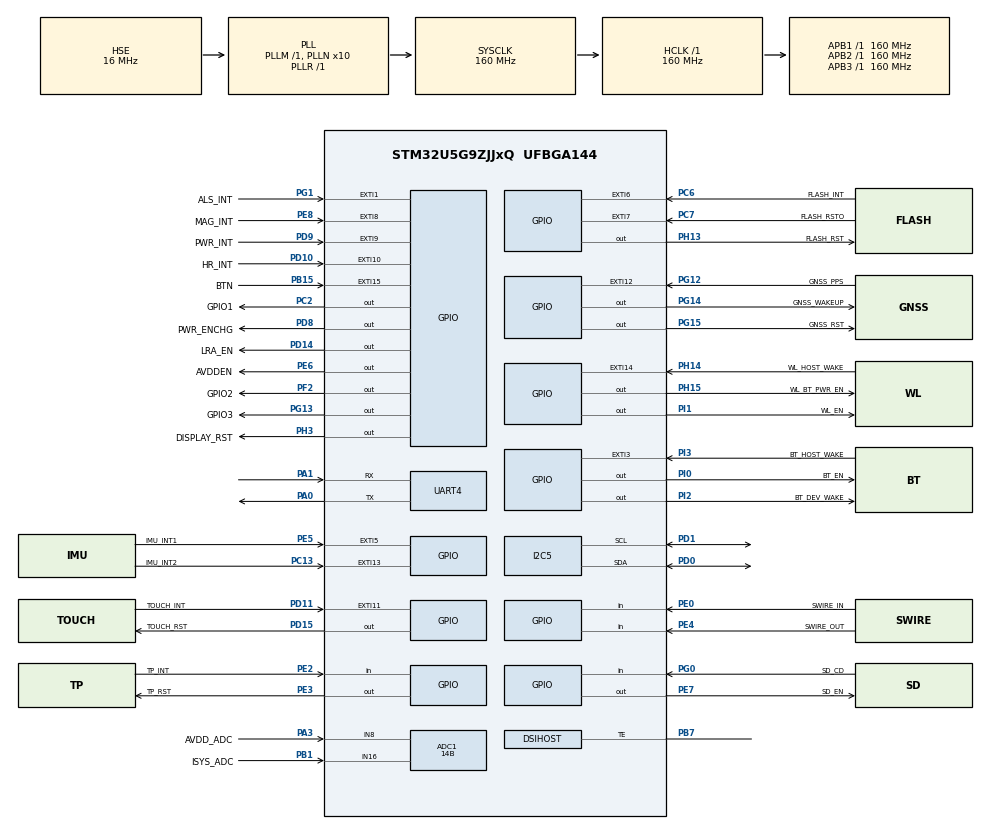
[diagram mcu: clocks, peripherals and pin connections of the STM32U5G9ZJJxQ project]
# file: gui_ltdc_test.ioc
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ADC1.Channel-0\#ChannelRegularConversion=ADC_CHANNEL_8
ADC1.ClockPrescaler=ADC_CLOCK_ASYNC_DIV128
ADC1.ContinuousConvMode=ENABLE
ADC1.ConversionDataManagement=ADC_CONVERSIONDATA_DMA_CIRCULAR
ADC1.DMAContinuousRequests=ENABLE
ADC1.MonitoredBy-0\#ChannelRegularConversion=__NULL
ADC1.NbrOfConversion=1
ADC1.NbrOfConversionFlag=1
ADC1.OffsetNumber-0\#ChannelRegularConversion=ADC_OFFSET_NONE
ADC1.Rank-0\#ChannelRegularConversion=1
ADC1.Resolution=ADC_RESOLUTION_14B
ADC1.SamplingTime-0\#ChannelRegularConversion=ADC_SAMPLETIME_68CYCLES
ADC1.master=1
CORTEX_M33_NS.userName=CORTEX_M33
DMA2D.ColorMode=DMA2D_OUTPUT_RGB888
DMA2D.Mode=DMA2D_M2M
DSIHOST.AutomaticClockLaneControl=DSI_AUTO_CLK_LANE_CTRL_DISABLE
DSIHOST.AutomaticRefresh=DSI_AR_DISABLE
DSIHOST.BTATimeout=20
DSIHOST.CommandSize=416
DSIHOST.HighSpeedReadTimeout=20
DSIHOST.HighSpeedTransmissionTimeout=20
DSIHOST.HighSpeedWriteTimeout=20
DSIHOST.LPDcsLongWrite=DSI_LP_DLW_ENABLE
DSIHOST.LPDcsShortReadNoP=DSI_LP_DSR0P_ENABLE
DSIHOST.LPDcsShortWriteNoP=DSI_LP_DSW0P_ENABLE
DSIHOST.LPDcsShortWriteOneP=DSI_LP_DSW1P_ENABLE
DSIHOST.LPGenLongWrite=DSI_LP_GLW_ENABLE
DSIHOST.LPGenShortReadNoP=DSI_LP_GSR0P_ENABLE
DSIHOST.LPGenShortReadOneP=DSI_LP_GSR1P_ENABLE
DSIHOST.LPGenShortReadTwoP=DSI_LP_GSR2P_ENABLE
DSIHOST.LPGenShortWriteNoP=DSI_LP_GSW0P_ENABLE
DSIHOST.LPGenShortWriteOneP=DSI_LP_GSW1P_ENABLE
DSIHOST.LPGenShortWriteTwoP=DSI_LP_GSW2P_ENABLE
DSIHOST.LPMaxReadPacket=DSI_LP_MRDP_ENABLE
DSIHOST.LowPowerReadTimeout=20
DSIHOST.LowPowerReceptionTimeout=20
DSIHOST.LowPowerWriteTimeout=20
DSIHOST.NumberOfLanes=DSI_ONE_DATA_LANE
DSIHOST.PHYFrequencyRange=DSI_DPHY_FRANGE_450MHZ_510MHZ
DSIHOST.PHYLowPowerOffset=PHY_LP_OFFSSET_0_CLKP
DSIHOST.PLLChargePump=DSI_PLL_CHARGE_PUMP_2000HZ_4400HZ
DSIHOST.PLLTuning=DSI_PLL_LOOP_FILTER_2000HZ_4400HZ
DSIHOST.PLLVCORange=DSI_DPHY_VCO_FRANGE_800MHZ_1GHZ
DSIHOST.StopWaitTime=10
DSIHOST.TimeoutCkdiv=1
DSI_CKN.Mode=DSIHost_Adapted_TE
DSI_CKN.PinAttribute=Free
DSI_CKN.Signal=DSIHOST_CKN
DSI_CKP.Mode=DSIHost_Adapted_TE
DSI_CKP.PinAttribute=Free
DSI_CKP.Signal=DSIHOST_CKP
DSI_D0N.Mode=DSIHost_Adapted_TE
DSI_D0N.PinAttribute=Free
DSI_D0N.Signal=DSIHOST_D0N
DSI_D0P.Mode=DSIHost_Adapted_TE
DSI_D0P.PinAttribute=Free
DSI_D0P.Signal=DSIHOST_D0P
DSI_D1N.Mode=DSIHost_Adapted_TE
DSI_D1N.PinAttribute=Free
DSI_D1N.Signal=DSIHOST_D1N
DSI_D1P.Mode=DSIHost_Adapted_TE
DSI_D1P.PinAttribute=Free
DSI_D1P.Signal=DSIHOST_D1P
I2C5.Timing=0x30909DEC
LTDC.ActiveH=416
LTDC.ActiveW=416
LTDC.Alpha0_L0=255
LTDC.Alpha_L0=255
LTDC.Blue=0
LTDC.Blue_L0=0
LTDC.FBStartAdress_L0=0xC0000000
LTDC.Green=0
LTDC.Green_L0=0
LTDC.HBP=0
LTDC.HFP=0
LTDC.HSync=1
LTDC.ImageHeight_L0=416
LTDC.ImageWidth_L0=416
LTDC.Layers=0
LTDC.PixelFormat_L0=LTDC_PIXEL_FORMAT_RGB888
LTDC.Red=255
LTDC.Red_L0=0
LTDC.VBP=0
LTDC.VFP=0
LTDC.VSync=1
LTDC.WindowX1_L0=416
LTDC.WindowY1_L0=416
Mcu.Family=STM32U5
Mcu.Name=STM32U5G9ZJJxQ
Mcu.Package=UFBGA144
NVIC.ADC1_2_IRQn=true\:0\:0\:false\:false\:true\:false\:true\:true\:true
NVIC.DMA2D_IRQn=true\:0\:0\:false\:false\:true\:false\:true\:true\:true
NVIC.DSI_IRQn=true\:0\:0\:false\:false\:true\:false\:true\:true\:true
NVIC.GPU2D_IRQn=true\:0\:0\:false\:false\:true\:false\:true\:true\:true
NVIC.LTDC_IRQn=true\:0\:0\:false\:false\:true\:false\:true\:true\:true
NVIC.PriorityGroup=NVIC_PRIORITYGROUP_4
NVIC.RCC_IRQn=true\:0\:0\:false\:false\:true\:false\:true\:false\:true
NVIC.TIM6_IRQn=true\:15\:0\:false\:false\:true\:false\:false\:true\:true
NVIC.TimeBase=TIM6_IRQn
NVIC.TimeBaseIP=TIM6
PA0.Mode=Asynchronous
PA0.PinAttribute=Free
PA0.Signal=UART4_TX
PA1.Mode=Asynchronous
PA1.PinAttribute=Free
PA1.Signal=UART4_RX
PA11.Signal=USB_OTG_HS_DM
PA12.Signal=USB_OTG_HS_DP
PA13\ (JTMS/SWDIO).Mode=Serial_Wire
PA13\ (JTMS/SWDIO).Signal=DEBUG_JTMS-SWDIO
PA14\ (JTCK/SWCLK).Mode=Serial_Wire
PA14\ (JTCK/SWCLK).Signal=DEBUG_JTCK-SWCLK
PA15\ (JTDI).Signal=USART2_RX
PA2.Signal=RCC_LSCO
PA3.GPIO_Label=AVDD_ADC
PA3.Mode=IN8-Single-Ended
PA3.Signal=ADC1_IN8
PA4.GPIO_Label=ELVDD_ADC
PA4.Signal=ADC1_IN9
PA5.PinAttribute=Free
PA5.Signal=SPI1_SCK
PA6.Signal=SPI1_MISO
PA7.Signal=SPI1_MOSI
PA8.Signal=SDMMC2_D1
PB0.PinAttribute=Free
PB0.Signal=SPI1_NSS
PB1.GPIO_Label=ISYS_ADC
PB1.Mode=IN16-Single-Ended
PB1.Signal=ADC1_IN16
PB10.Signal=OCTOSPIM_P1_CLK
PB11.PinAttribute=Free
PB11.Signal=I2C2_SDA
PB13.Signal=I2C2_SCL
PB14.PinAttribute=Free
PB14.Signal=SDMMC2_D0
PB15.GPIO_Label=BTN
PB15.Signal=GPXTI15
PB2.PinAttribute=Free
PB2.Signal=OCTOSPIM_P1_DQS
PB3\ (JTDO/TRACESWO).Signal=SDMMC2_D2
PB4\ (NJTRST).PinAttribute=Free
PB4\ (NJTRST).Signal=SDMMC2_D3
PB5.Signal=OCTOSPIM_P1_NCLK
PB6.PinAttribute=Free
PB6.Signal=I2C1_SCL
PB7.Mode=DSIHost_Adapted_TE
PB7.Signal=DSIHOST_TE
PB8.Signal=SDMMC1_CKIN
PB9.Signal=I2C1_SDA
PC0.PinAttribute=Free
PC0.Signal=I2C3_SCL
PC1.PinAttribute=Free
PC1.Signal=I2C3_SDA
PC10.Signal=SDMMC1_D2
PC11.Signal=SDMMC1_D3
PC12.PinAttribute=Free
PC12.Signal=SDMMC1_CK
PC13.GPIO_Label=IMU_INT2
PC13.PinAttribute=Free
PC13.Signal=GPXTI13
PC14-OSC32_IN\ (PC14).Mode=LSE-External-Oscillator
PC14-OSC32_IN\ (PC14).Signal=RCC_OSC32_IN
PC15-OSC32_OUT\ (PC15).Mode=LSE-External-Oscillator
PC15-OSC32_OUT\ (PC15).Signal=RCC_OSC32_OUT
PC2.GPIO_Label=GPIO1
PC2.PinAttribute=Free
PC2.Signal=GPIO_Output
PC3.GPIO_Label=ELVSS_ADC
PC3.Signal=ADC1_IN4
PC6.GPIO_Label=FLASH_INT
PC6.PinAttribute=Free
PC6.Signal=GPXTI6
PC7.GPIO_Label=FLASH_RSTO
PC7.PinAttribute=Free
PC7.Signal=GPXTI7
PC8.Signal=SDMMC1_D0
PC9.PinAttribute=Free
PC9.Signal=SDMMC1_D1
PD0.Mode=I2C
PD0.Signal=I2C5_SDA
PD1.Mode=I2C
PD1.PinAttribute=Free
PD1.Signal=I2C5_SCL
PD10.GPIO_Label=HR_INT
PD10.PinAttribute=Free
PD10.Signal=GPXTI10
PD11.GPIO_Label=TOUCH_INT
PD11.PinAttribute=Free
PD11.Signal=GPXTI11
PD12.Signal=I2C4_SCL
PD13.Signal=I2C4_SDA
PD14.GPIO_Label=LRA_EN
PD14.Signal=GPIO_Output
PD15.GPIO_Label=TOUCH_RST
PD15.GPIO_ModeDefaultOutputPP=GPIO_MODE_OUTPUT_OD
PD15.GPIO_PuPd=GPIO_NOPULL
PD15.PinAttribute=Free
PD15.Signal=GPIO_Output
PD2.Signal=SDMMC1_CMD
PD3.PinAttribute=Free
PD3.Signal=USART2_CTS
PD4.Signal=USART2_RTS
PD5.Signal=USART2_TX
PD6.Signal=SDMMC2_CK
PD7.PinAttribute=Free
PD7.Signal=SDMMC2_CMD
PD8.GPIO_Label=PWR_ENCHG
PD8.Signal=GPIO_Output
PD9.GPIO_Label=PWR_INT
PD9.Signal=GPXTI9
PE0.GPIO_Label=SWIRE_IN
PE0.PinAttribute=Free
PE0.Signal=GPIO_Input
PE10.PinAttribute=Free
PE10.Signal=ADF1_SDI0
PE11.Signal=OCTOSPIM_P1_NCS
PE12.PinAttribute=Free
PE12.Signal=OCTOSPIM_P1_IO0
PE13.Signal=OCTOSPIM_P1_IO1
PE14.PinAttribute=Free
PE14.Signal=OCTOSPIM_P1_IO2
PE15.Signal=OCTOSPIM_P1_IO3
PE2.GPIO_Label=TP_INT
PE2.Signal=GPIO_Input
PE3.GPIO_Label=TP_RST
PE3.PinAttribute=Free
PE3.Signal=GPIO_Output
PE4.GPIO_Label=SWIRE_OUT
PE4.GPIO_PuPd=GPIO_PULLDOWN
PE4.Signal=GPIO_Input
PE5.GPIO_Label=IMU_INT1
PE5.Signal=GPXTI5
PE6.GPIO_Label=AVDDEN
PE6.Signal=GPIO_Output
PE7.GPIO_Label=SD_EN
PE7.Signal=GPIO_Output
PE8.GPIO_Label=MAG_INT
PE8.PinAttribute=Free
PE8.Signal=GPXTI8
PE9.PinAttribute=Free
PE9.Signal=ADF1_CCK0
PF0.PinAttribute=Free
PF0.Signal=I2C6_SDA
PF1.PinAttribute=Free
PF1.Signal=I2C6_SCL
PF2.GPIO_Label=GPIO2
PF2.PinAttribute=Free
PF2.Signal=GPIO_Output
PG0.GPIO_Label=SD_CD
PG0.PinAttribute=Free
PG0.Signal=GPIO_Input
PG1.GPIO_Label=ALS_INT
PG1.PinAttribute=Free
PG1.Signal=GPXTI1
PG10.PinAttribute=Free
PG10.Signal=USART1_RX
PG12.GPIO_Label=GNSS_PPS
PG12.PinAttribute=Free
PG12.Signal=GPXTI12
PG13.GPIO_Label=GPIO3
PG13.Signal=GPIO_Output
PG14.GPIO_Label=GNSS_WAKEUP
PG14.PinAttribute=Free
PG14.Signal=GPIO_Output
PG15.GPIO_Label=GNSS_RST
PG15.Signal=GPIO_Output
PG9.Signal=USART1_TX
PH0-OSC_IN\ (PH0).Mode=HSE-External-Oscillator
PH0-OSC_IN\ (PH0).PinAttribute=Free
PH0-OSC_IN\ (PH0).Signal=RCC_OSC_IN
PH1-OSC_OUT\ (PH1).Mode=HSE-External-Oscillator
PH1-OSC_OUT\ (PH1).PinAttribute=Free
PH1-OSC_OUT\ (PH1).Signal=RCC_OSC_OUT
PH10.PinAttribute=Free
PH10.Signal=OCTOSPIM_P2_IO5
PH11.PinAttribute=Free
PH11.Signal=OCTOSPIM_P2_IO6
PH12.PinAttribute=Free
PH12.Signal=OCTOSPIM_P2_IO7
PH13.GPIO_Label=FLASH_RST
PH13.PinAttribute=Free
PH13.Signal=GPIO_Output
PH14.GPIO_Label=WL_HOST_WAKE
PH14.PinAttribute=Free
PH14.Signal=GPXTI14
PH15.GPIO_Label=WL_BT_PWR_EN
PH15.PinAttribute=Free
PH15.Signal=GPIO_Output
PH3-BOOT0.GPIO_Label=DISPLAY_RST
PH3-BOOT0.PinAttribute=Free
PH3-BOOT0.Signal=GPIO_Output
PH9.Signal=OCTOSPIM_P2_IO4
PI0.GPIO_Label=BT_EN
PI0.PinAttribute=Free
PI0.Signal=GPIO_Output
PI1.GPIO_Label=WL_EN
PI1.PinAttribute=Free
PI1.Signal=GPIO_Output
PI2.GPIO_Label=BT_DEV_WAKE
PI2.PinAttribute=Free
PI2.Signal=GPIO_Output
PI3.GPIO_Label=BT_HOST_WAKE
PI3.PinAttribute=Free
PI3.Signal=GPXTI3
PWR.PowerMode=PWR_SMPS_SUPPLY
ProjectManager.HeapSize=0x200
ProjectManager.StackSize=0x400
ProjectManager.TargetToolchain=STM32CubeIDE
RCC.ADCFreq_Value=16000000
RCC.AHBFreq_Value=160000000
RCC.APB1Freq_Value=160000000
RCC.APB1TimFreq_Value=160000000
RCC.APB2Freq_Value=160000000
RCC.APB2TimFreq_Value=160000000
RCC.APB3Freq_Value=160000000
RCC.CortexFreq_Value=160000000
RCC.DSICLockSelection=RCC_DSICLKSOURCE_PLL3
RCC.EPOD_VALUE=16000000
RCC.EnableCSSLSE=true
RCC.EnbaleCSS=true
RCC.HCLKFreq_Value=160000000
RCC.HSE_VALUE=16000000
RCC.HSI48_VALUE=48000000
RCC.HSI_VALUE=16000000
RCC.LSCOSource1Virtual=RCC_LSCOSOURCE_LSE
RCC.LSE_Drive_Capability=RCC_LSEDRIVE_MEDIUMLOW
RCC.LSIDIV_VALUE=32000
RCC.MSIAutoCalibration=DISABLED
RCC.MSIClockRange=RCC_MSIRANGE_0
RCC.MSI_VALUE=48000000
RCC.PLL1P=5
RCC.PLL1R=1
RCC.PLL1_VCI_Range-AdvancedSettings=RCC_PLLVCIRANGE_1
RCC.PLL2FRACN=0
RCC.PLL2N=10
RCC.PLL2R=8
RCC.PLL2Source=RCC_PLLSOURCE_HSE
RCC.PLL3M=4
RCC.PLL3N=125
RCC.PLL3P=8
RCC.PLL3R=8
RCC.PLL3Source=RCC_PLLSOURCE_HSE
RCC.PLLDSIIDF=DSI_PLL_IN_DIV4
RCC.PLLDSINDIV=125
RCC.PLLDSIODF=DSI_PLL_OUT_DIV2
RCC.PLLFRACN=0
RCC.PLLN=10
RCC.PLLSourceVirtual=RCC_PLLSOURCE_HSE
RCC.RTCClockSelection=RCC_RTCCLKSOURCE_LSE
RCC.SYSCLKFreq_VALUE=160000000
RCC.SYSCLKSource=RCC_SYSCLKSOURCE_PLLCLK
RCC.VCOOutputFreq_Value=160000000
RCC.VDD_VALUE=1.8
STMicroelectronics.X-CUBE-TOUCHGFX.4.23.2.ApplicationCcGraphicsJjApplication=TouchGFXOoGenerator
STMicroelectronics.X-CUBE-TOUCHGFX.4.23.2.tgfx_display_interface=disp_ltdc
STMicroelectronics.X-CUBE-TOUCHGFX.4.23.2.tgfx_hardware_accelerator=dma_2d
STMicroelectronics.X-CUBE-TOUCHGFX.4.23.2.tgfx_nemap_accelerator=gpu2d_enabled
STMicroelectronics.X-CUBE-TOUCHGFX.4.23.2.tgfx_vector_rendering=Disabled
STMicroelectronics.X-CUBE-TOUCHGFX.4.23.2.tgfx_video=Disabled
STMicroelectronics.X-CUBE-TOUCHGFX.4.23.2.tgfx_vsync=vsync_custom
STMicroelectronics.X-CUBE-TOUCHGFX.4.23.2_IsPackSelfContextualization=true
THREADX.TX_APP_CREATION=1
THREADX.TX_APP_GENERATE_INIT_CODE=true
THREADX.TX_APP_MEM_POOL_SIZE=1024 * 10
THREADX.TX_TIMER_TICKS_PER_SECOND=1000
VP_CRC_VS_CRC.Mode=CRC_Activate
VP_DMA2D_VS_DMA2D.Mode=DMA2D_Activate
VP_GPU2D_VS_GPU2D.Mode=GPU2D_Activate
VP_ICACHE_VS_ICACHE.Mode=DefaultMode
VP_LPBAMQUEUE_VS_QUEUE.Mode=QUEUEMODE
VP_LPBAM_VS_SIG1.Mode=SmartRun
VP_LPBAM_VS_SIG4.Mode=LPDMA1
VP_LTDC_DSIMode.Mode=RGB888
VP_MEMORYMAP_VS_MEMORYMAP.Mode=CurAppReg
VP_PWR_VS_LPOM.Mode=PowerOptimisation
VP_PWR_VS_SECSignals.Mode=Security/Privilege
VP_PWR_Vdda.Mode=isolationVdda
VP_RTC_VS_RTC_Activate.Mode=RTC_Enabled
VP_STMicroelectronics.X-CUBE-TOUCHGFX_VS_GraphicsJjApplication_4.23.2.Mode=GraphicsJjApplication
VP_SYS_VS_tim6.Mode=TIM6
VP_THREADX_VS_RTOSJjThreadXJjCoreJjDefault.Mode=Core_Default
VREF+.Mode=InternalMode
VREF+.PinAttribute=Free
VREF+.Signal=VREFBUF_OUT
board=custom

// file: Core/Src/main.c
/* USER CODE BEGIN Header */
/**
 ******************************************************************************
 * @file           : main.c
 * @brief          : Main program body
 ******************************************************************************
 * @attention
 *
 * Copyright (c) 2024 STMicroelectronics.
 * All rights reserved.
 *
 * This software is licensed under terms that can be found in the LICENSE file
 * in the root directory of this software component.
 * If no LICENSE file comes with this software, it is provided AS-IS.
 *
 ******************************************************************************
 */
/* USER CODE END Header */
#include "app_threadx.h"
#include "main.h"
#include "app_touchgfx.h"

ADC_HandleTypeDef hadc1;

CRC_HandleTypeDef hcrc;

DMA2D_HandleTypeDef hdma2d;

DSI_HandleTypeDef hdsi;

GPU2D_HandleTypeDef hgpu2d;

I2C_HandleTypeDef hi2c5;

LTDC_HandleTypeDef hltdc;

RTC_HandleTypeDef hrtc;

UART_HandleTypeDef huart4;

void SystemClock_Config(void);
static void SystemPower_Config(void);
static void MX_GPIO_Init(void);
static void MX_DSIHOST_DSI_Init(void);
static void MX_ICACHE_Init(void);
static void MX_LTDC_Init(void);
static void MX_I2C5_Init(void);
static void MX_RTC_Init(void);
static void MX_ADC1_Init(void);
static void MX_UART4_Init(void);
static void MX_CRC_Init(void);
static void MX_DMA2D_Init(void);
static void MX_GPU2D_Init(void);

int main(void)
{

  /* MCU Configuration--------------------------------------------------------*/

  /* Reset of all peripherals, Initializes the Flash interface and the Systick. */
  HAL_Init();

  /* Configure the system clock */
  SystemClock_Config();

  /* Configure the System Power */
  SystemPower_Config();

  /* Initialize all configured peripherals */
  MX_GPIO_Init();
  MX_DSIHOST_DSI_Init();
  MX_ICACHE_Init();
  MX_LTDC_Init();
  MX_I2C5_Init();
  MX_RTC_Init();
  MX_ADC1_Init();
  MX_UART4_Init();
  MX_CRC_Init();
  MX_DMA2D_Init();
  MX_GPU2D_Init();
  /* Call PreOsInit function */
  MX_TouchGFX_PreOSInit();

  MX_ThreadX_Init();

  /* We should never get here as control is now taken by the scheduler */

  /* Infinite loop */
	while (1)
	{

	}
}

void SystemClock_Config(void)
{
  RCC_OscInitTypeDef RCC_OscInitStruct = {0};
  RCC_ClkInitTypeDef RCC_ClkInitStruct = {0};

  /** Configure the main internal regulator output voltage
  */
  if (HAL_PWREx_ControlVoltageScaling(PWR_REGULATOR_VOLTAGE_SCALE1) != HAL_OK)
  {
    Error_Handler();
  }

  /** Configure LSE Drive Capability
  */
  HAL_PWR_EnableBkUpAccess();
  __HAL_RCC_LSEDRIVE_CONFIG(RCC_LSEDRIVE_MEDIUMLOW);

  /** Initializes the CPU, AHB and APB buses clocks
  */
  RCC_OscInitStruct.OscillatorType = RCC_OSCILLATORTYPE_HSI|RCC_OSCILLATORTYPE_HSE
                              |RCC_OSCILLATORTYPE_LSE;
  RCC_OscInitStruct.HSEState = RCC_HSE_ON;
  RCC_OscInitStruct.LSEState = RCC_LSE_ON;
  RCC_OscInitStruct.HSIState = RCC_HSI_ON;
  RCC_OscInitStruct.HSICalibrationValue = RCC_HSICALIBRATION_DEFAULT;
  RCC_OscInitStruct.PLL.PLLState = RCC_PLL_ON;
  RCC_OscInitStruct.PLL.PLLSource = RCC_PLLSOURCE_HSE;
  RCC_OscInitStruct.PLL.PLLMBOOST = RCC_PLLMBOOST_DIV1;
  RCC_OscInitStruct.PLL.PLLM = 1;
  RCC_OscInitStruct.PLL.PLLN = 10;
  RCC_OscInitStruct.PLL.PLLP = 5;
  RCC_OscInitStruct.PLL.PLLQ = 2;
  RCC_OscInitStruct.PLL.PLLR = 1;
  RCC_OscInitStruct.PLL.PLLRGE = RCC_PLLVCIRANGE_1;
  RCC_OscInitStruct.PLL.PLLFRACN = 0;
  if (HAL_RCC_OscConfig(&RCC_OscInitStruct) != HAL_OK)
  {
    Error_Handler();
  }

  /** Initializes the CPU, AHB and APB buses clocks
  */
  RCC_ClkInitStruct.ClockType = RCC_CLOCKTYPE_HCLK|RCC_CLOCKTYPE_SYSCLK
                              |RCC_CLOCKTYPE_PCLK1|RCC_CLOCKTYPE_PCLK2
                              |RCC_CLOCKTYPE_PCLK3;
  RCC_ClkInitStruct.SYSCLKSource = RCC_SYSCLKSOURCE_PLLCLK;
  RCC_ClkInitStruct.AHBCLKDivider = RCC_SYSCLK_DIV1;
  RCC_ClkInitStruct.APB1CLKDivider = RCC_HCLK_DIV1;
  RCC_ClkInitStruct.APB2CLKDivider = RCC_HCLK_DIV1;
  RCC_ClkInitStruct.APB3CLKDivider = RCC_HCLK_DIV1;

  if (HAL_RCC_ClockConfig(&RCC_ClkInitStruct, FLASH_LATENCY_4) != HAL_OK)
  {
    Error_Handler();
  }

  /** Enables the Clock Security System
  */
  HAL_RCC_EnableCSS();

  /** Enables the Clock Security System
  */
  HAL_RCCEx_EnableLSECSS();
}

/**
  * @brief Power Configuration
  * @retval None
  */
static void SystemPower_Config(void)
{
  HAL_PWREx_EnableVddIO2();

  /*
   * Switch to SMPS regulator instead of LDO
   */
  if (HAL_PWREx_ConfigSupply(PWR_SMPS_SUPPLY) != HAL_OK)
  {
    Error_Handler();
  }
}

static void MX_ADC1_Init(void)
{

  ADC_ChannelConfTypeDef sConfig = {0};

  /** Common config
  */
  hadc1.Instance = ADC1;
  hadc1.Init.ClockPrescaler = ADC_CLOCK_ASYNC_DIV128;
  hadc1.Init.Resolution = ADC_RESOLUTION_14B;
  hadc1.Init.GainCompensation = 0;
  hadc1.Init.DataAlign = ADC_DATAALIGN_RIGHT;
  hadc1.Init.ScanConvMode = ADC_SCAN_DISABLE;
  hadc1.Init.EOCSelection = ADC_EOC_SINGLE_CONV;
  hadc1.Init.LowPowerAutoWait = DISABLE;
  hadc1.Init.ContinuousConvMode = ENABLE;
  hadc1.Init.NbrOfConversion = 1;
  hadc1.Init.DiscontinuousConvMode = DISABLE;
  hadc1.Init.ExternalTrigConv = ADC_SOFTWARE_START;
  hadc1.Init.ExternalTrigConvEdge = ADC_EXTERNALTRIGCONVEDGE_NONE;
  hadc1.Init.DMAContinuousRequests = ENABLE;
  hadc1.Init.TriggerFrequencyMode = ADC_TRIGGER_FREQ_HIGH;
  hadc1.Init.Overrun = ADC_OVR_DATA_PRESERVED;
  hadc1.Init.LeftBitShift = ADC_LEFTBITSHIFT_NONE;
  hadc1.Init.ConversionDataManagement = ADC_CONVERSIONDATA_DMA_CIRCULAR;
  hadc1.Init.OversamplingMode = DISABLE;
  if (HAL_ADC_Init(&hadc1) != HAL_OK)
  {
    Error_Handler();
  }

  /** Configure Regular Channel
  */
  sConfig.Channel = ADC_CHANNEL_8;
  sConfig.Rank = ADC_REGULAR_RANK_1;
  sConfig.SamplingTime = ADC_SAMPLETIME_68CYCLES;
  sConfig.SingleDiff = ADC_SINGLE_ENDED;
  sConfig.OffsetNumber = ADC_OFFSET_NONE;
  sConfig.Offset = 0;
  if (HAL_ADC_ConfigChannel(&hadc1, &sConfig) != HAL_OK)
  {
    Error_Handler();
  }

}

static void MX_CRC_Init(void)
{

  hcrc.Instance = CRC;
  hcrc.Init.DefaultPolynomialUse = DEFAULT_POLYNOMIAL_ENABLE;
  hcrc.Init.DefaultInitValueUse = DEFAULT_INIT_VALUE_ENABLE;
  hcrc.Init.InputDataInversionMode = CRC_INPUTDATA_INVERSION_NONE;
  hcrc.Init.OutputDataInversionMode = CRC_OUTPUTDATA_INVERSION_DISABLE;
  hcrc.InputDataFormat = CRC_INPUTDATA_FORMAT_BYTES;
  if (HAL_CRC_Init(&hcrc) != HAL_OK)
  {
    Error_Handler();
  }

}

static void MX_DMA2D_Init(void)
{

  hdma2d.Instance = DMA2D;
  hdma2d.Init.Mode = DMA2D_M2M;
  hdma2d.Init.ColorMode = DMA2D_OUTPUT_RGB888;
  hdma2d.Init.OutputOffset = 0;
  hdma2d.Init.BytesSwap = DMA2D_BYTES_REGULAR;
  hdma2d.Init.LineOffsetMode = DMA2D_LOM_PIXELS;
  hdma2d.LayerCfg[1].InputOffset = 0;
  hdma2d.LayerCfg[1].InputColorMode = DMA2D_INPUT_RGB888;
  hdma2d.LayerCfg[1].AlphaMode = DMA2D_NO_MODIF_ALPHA;
  hdma2d.LayerCfg[1].InputAlpha = 0;
  hdma2d.LayerCfg[1].AlphaInverted = DMA2D_REGULAR_ALPHA;
  hdma2d.LayerCfg[1].RedBlueSwap = DMA2D_RB_REGULAR;
  if (HAL_DMA2D_Init(&hdma2d) != HAL_OK)
  {
    Error_Handler();
  }
  if (HAL_DMA2D_ConfigLayer(&hdma2d, 1) != HAL_OK)
  {
    Error_Handler();
  }

}

static void MX_DSIHOST_DSI_Init(void)
{

  DSI_PLLInitTypeDef PLLInit = {0};
  DSI_HOST_TimeoutTypeDef HostTimeouts = {0};
  DSI_PHY_TimerTypeDef PhyTimings = {0};
  DSI_LPCmdTypeDef LPCmd = {0};
  DSI_CmdCfgTypeDef CmdCfg = {0};

  hdsi.Instance = DSI;
  hdsi.Init.AutomaticClockLaneControl = DSI_AUTO_CLK_LANE_CTRL_DISABLE;
  hdsi.Init.TXEscapeCkdiv = 4;
  hdsi.Init.NumberOfLanes = DSI_ONE_DATA_LANE;
  hdsi.Init.PHYFrequencyRange = DSI_DPHY_FRANGE_450MHZ_510MHZ;
  hdsi.Init.PHYLowPowerOffset = PHY_LP_OFFSSET_0_CLKP;
  PLLInit.PLLNDIV = 125;
  PLLInit.PLLIDF = DSI_PLL_IN_DIV4;
  PLLInit.PLLODF = DSI_PLL_OUT_DIV2;
  PLLInit.PLLVCORange = DSI_DPHY_VCO_FRANGE_800MHZ_1GHZ;
  PLLInit.PLLChargePump = DSI_PLL_CHARGE_PUMP_2000HZ_4400HZ;
  PLLInit.PLLTuning = DSI_PLL_LOOP_FILTER_2000HZ_4400HZ;
  if (HAL_DSI_Init(&hdsi, &PLLInit) != HAL_OK)
  {
    Error_Handler();
  }
  HostTimeouts.TimeoutCkdiv = 1;
  HostTimeouts.HighSpeedTransmissionTimeout = 20;
  HostTimeouts.LowPowerReceptionTimeout = 20;
  HostTimeouts.HighSpeedReadTimeout = 20;
  HostTimeouts.LowPowerReadTimeout = 20;
  HostTimeouts.HighSpeedWriteTimeout = 20;
  HostTimeouts.HighSpeedWritePrespMode = DSI_HS_PM_DISABLE;
  HostTimeouts.LowPowerWriteTimeout = 20;
  HostTimeouts.BTATimeout = 20;
  if (HAL_DSI_ConfigHostTimeouts(&hdsi, &HostTimeouts) != HAL_OK)
  {
    Error_Handler();
  }
  PhyTimings.ClockLaneHS2LPTime = 10;
  PhyTimings.ClockLaneLP2HSTime = 0;
  PhyTimings.DataLaneHS2LPTime = 0;
  PhyTimings.DataLaneLP2HSTime = 0;
  PhyTimings.DataLaneMaxReadTime = 0;
  PhyTimings.StopWaitTime = 10;
  if (HAL_DSI_ConfigPhyTimer(&hdsi, &PhyTimings) != HAL_OK)
  {
    Error_Handler();
  }
  if (HAL_DSI_ConfigFlowControl(&hdsi, DSI_FLOW_CONTROL_BTA) != HAL_OK)
  {
    Error_Handler();
  }
  if (HAL_DSI_ConfigErrorMonitor(&hdsi, HAL_DSI_ERROR_NONE) != HAL_OK)
  {
    Error_Handler();
  }
  LPCmd.LPGenShortWriteNoP = DSI_LP_GSW0P_ENABLE;
  LPCmd.LPGenShortWriteOneP = DSI_LP_GSW1P_ENABLE;
  LPCmd.LPGenShortWriteTwoP = DSI_LP_GSW2P_ENABLE;
  LPCmd.LPGenShortReadNoP = DSI_LP_GSR0P_ENABLE;
  LPCmd.LPGenShortReadOneP = DSI_LP_GSR1P_ENABLE;
  LPCmd.LPGenShortReadTwoP = DSI_LP_GSR2P_ENABLE;
  LPCmd.LPGenLongWrite = DSI_LP_GLW_ENABLE;
  LPCmd.LPDcsShortWriteNoP = DSI_LP_DSW0P_ENABLE;
  LPCmd.LPDcsShortWriteOneP = DSI_LP_DSW1P_ENABLE;
  LPCmd.LPDcsShortReadNoP = DSI_LP_DSR0P_ENABLE;
  LPCmd.LPDcsLongWrite = DSI_LP_DLW_ENABLE;
  LPCmd.LPMaxReadPacket = DSI_LP_MRDP_ENABLE;
  LPCmd.AcknowledgeRequest = DSI_ACKNOWLEDGE_DISABLE;
  if (HAL_DSI_ConfigCommand(&hdsi, &LPCmd) != HAL_OK)
  {
    Error_Handler();
  }
  CmdCfg.ColorCoding = DSI_RGB888;
  CmdCfg.CommandSize = 416;
  CmdCfg.TearingEffectSource = DSI_TE_EXTERNAL;
  CmdCfg.TearingEffectPolarity = DSI_TE_RISING_EDGE;
  CmdCfg.HSPolarity = DSI_HSYNC_ACTIVE_LOW;
  CmdCfg.VSPolarity = DSI_VSYNC_ACTIVE_LOW;
  CmdCfg.DEPolarity = DSI_DATA_ENABLE_ACTIVE_HIGH;
  CmdCfg.VSyncPol = DSI_VSYNC_FALLING;
  CmdCfg.AutomaticRefresh = DSI_AR_DISABLE;
  CmdCfg.TEAcknowledgeRequest = DSI_TE_ACKNOWLEDGE_DISABLE;
  if (HAL_DSI_ConfigAdaptedCommandMode(&hdsi, &CmdCfg) != HAL_OK)
  {
    Error_Handler();
  }
  if (HAL_DSI_SetGenericVCID(&hdsi, 0) != HAL_OK)
  {
    Error_Handler();
  }

}

static void MX_GPU2D_Init(void)
{

  hgpu2d.Instance = GPU2D;
  if (HAL_GPU2D_Init(&hgpu2d) != HAL_OK)
  {
    Error_Handler();
  }

}

static void MX_I2C5_Init(void)
{

  hi2c5.Instance = I2C5;
  hi2c5.Init.Timing = 0x30909DEC;
  hi2c5.Init.OwnAddress1 = 0;
  hi2c5.Init.AddressingMode = I2C_ADDRESSINGMODE_7BIT;
  hi2c5.Init.DualAddressMode = I2C_DUALADDRESS_DISABLE;
  hi2c5.Init.OwnAddress2 = 0;
  hi2c5.Init.OwnAddress2Masks = I2C_OA2_NOMASK;
  hi2c5.Init.GeneralCallMode = I2C_GENERALCALL_DISABLE;
  hi2c5.Init.NoStretchMode = I2C_NOSTRETCH_DISABLE;
  if (HAL_I2C_Init(&hi2c5) != HAL_OK)
  {
    Error_Handler();
  }

  /** Configure Analogue filter
  */
  if (HAL_I2CEx_ConfigAnalogFilter(&hi2c5, I2C_ANALOGFILTER_ENABLE) != HAL_OK)
  {
    Error_Handler();
  }

  /** Configure Digital filter
  */
  if (HAL_I2CEx_ConfigDigitalFilter(&hi2c5, 0) != HAL_OK)
  {
    Error_Handler();
  }

}

static void MX_ICACHE_Init(void)
{

  /** Enable instruction cache (default 2-ways set associative cache)
  */
  if (HAL_ICACHE_Enable() != HAL_OK)
  {
    Error_Handler();
  }

}

static void MX_LTDC_Init(void)
{

  LTDC_LayerCfgTypeDef pLayerCfg = {0};

  hltdc.Instance = LTDC;
  hltdc.Init.HSPolarity = LTDC_HSPOLARITY_AL;
  hltdc.Init.VSPolarity = LTDC_VSPOLARITY_AL;
  hltdc.Init.DEPolarity = LTDC_DEPOLARITY_AL;
  hltdc.Init.PCPolarity = LTDC_PCPOLARITY_IPC;
  hltdc.Init.HorizontalSync = 0;
  hltdc.Init.VerticalSync = 0;
  hltdc.Init.AccumulatedHBP = 0;
  hltdc.Init.AccumulatedVBP = 0;
  hltdc.Init.AccumulatedActiveW = 416;
  hltdc.Init.AccumulatedActiveH = 416;
  hltdc.Init.TotalWidth = 416;
  hltdc.Init.TotalHeigh = 416;
  hltdc.Init.Backcolor.Blue = 0;
  hltdc.Init.Backcolor.Green = 0;
  hltdc.Init.Backcolor.Red = 255;
  if (HAL_LTDC_Init(&hltdc) != HAL_OK)
  {
    Error_Handler();
  }
  pLayerCfg.WindowX0 = 0;
  pLayerCfg.WindowX1 = 416;
  pLayerCfg.WindowY0 = 0;
  pLayerCfg.WindowY1 = 416;
  pLayerCfg.PixelFormat = LTDC_PIXEL_FORMAT_RGB888;
  pLayerCfg.Alpha = 255;
  pLayerCfg.Alpha0 = 255;
  pLayerCfg.BlendingFactor1 = LTDC_BLENDING_FACTOR1_CA;
  pLayerCfg.BlendingFactor2 = LTDC_BLENDING_FACTOR2_CA;
  pLayerCfg.FBStartAdress = 0xC0000000;
  pLayerCfg.ImageWidth = 416;
  pLayerCfg.ImageHeight = 416;
  pLayerCfg.Backcolor.Blue = 0;
  pLayerCfg.Backcolor.Green = 0;
  pLayerCfg.Backcolor.Red = 0;
  if (HAL_LTDC_ConfigLayer(&hltdc, &pLayerCfg, 0) != HAL_OK)
  {
    Error_Handler();
  }
  /* USER CODE BEGIN LTDC_Init 2 */

	__HAL_LTDC_DISABLE(&hltdc);

	hdsi.Instance->CLCR &= ~DSI_CLCR_DPCC;

	HAL_DSI_Start(&hdsi);

	NVIC_DisableIRQ(DSI_IRQn);

	HAL_GPIO_WritePin(AVDDEN_GPIO_Port, AVDDEN_Pin, RESET);
	HAL_GPIO_WritePin(SD_EN_GPIO_Port,SD_EN_Pin, RESET);
	HAL_GPIO_WritePin(WL_BT_PWR_EN_GPIO_Port, WL_BT_PWR_EN_Pin, RESET);
	HAL_GPIO_WritePin(DISPLAY_RST_GPIO_Port, DISPLAY_RST_Pin, RESET);
	HAL_GPIO_WritePin(TOUCH_RST_GPIO_Port, TOUCH_RST_Pin, RESET);
	HAL_GPIO_WritePin(TP_RST_GPIO_Port, TP_RST_Pin, RESET);

	// Turn on display power AVDD
	HAL_GPIO_WritePin(AVDDEN_GPIO_Port, AVDDEN_Pin, SET);

	// Reset the display
	HAL_GPIO_WritePin(DISPLAY_RST_GPIO_Port, DISPLAY_RST_Pin, SET);
	HAL_Delay(1);
	HAL_GPIO_WritePin(DISPLAY_RST_GPIO_Port, DISPLAY_RST_Pin, RESET);
	HAL_Delay(1);
	HAL_GPIO_WritePin(DISPLAY_RST_GPIO_Port, DISPLAY_RST_Pin, SET);
	HAL_Delay(50);

	HAL_StatusTypeDef status = HAL_OK;
	UNUSED(status);

	// Exit sleep
	status = HAL_DSI_ShortWrite(&hdsi, 0, DSI_DCS_SHORT_PKT_WRITE_P0, 0x11, 0x00);
	HAL_Delay(100);

	uint8_t caset_data[4] = {0x00, 0x1E, 0x01, 0xBD};
	status = HAL_DSI_LongWrite(&hdsi, 0, DSI_DCS_LONG_PKT_WRITE, 4, 0x2A, caset_data);

	status = HAL_DSI_ShortWrite(&hdsi, 0, DSI_DCS_SHORT_PKT_WRITE_P1, 0x2B, 0x00);
	HAL_Delay(100);

	// Inversion on
	status = HAL_DSI_ShortWrite(&hdsi, 0, DSI_DCS_SHORT_PKT_WRITE_P0, 0x21, 0x00);
	HAL_Delay(100);

	// Set normal display mode
	status = HAL_DSI_ShortWrite(&hdsi, 0, DSI_DCS_SHORT_PKT_WRITE_P0, 0x13, 0x00);
	HAL_Delay(100);

	// Set brightness to max
	status = HAL_DSI_ShortWrite(&hdsi, 0, DSI_DCS_SHORT_PKT_WRITE_P1, 0x51, 0xFF);
	HAL_Delay(100);

	status = HAL_DSI_ShortWrite(&hdsi, 0, DSI_DCS_SHORT_PKT_WRITE_P1, 0x2B, 0x00);
	HAL_Delay(100);

	// Inversion off
	status = HAL_DSI_ShortWrite(&hdsi, 0, DSI_DCS_SHORT_PKT_WRITE_P0, 0x20, 0x00);
	HAL_Delay(1000);

	// Tearing on
	HAL_DSI_ShortWrite(&hdsi, 0, DSI_DCS_SHORT_PKT_WRITE_P1, 0x35, 0x02);

	// Display on
	HAL_DSI_ShortWrite(&hdsi, 0, DSI_DCS_SHORT_PKT_WRITE_P1, DSI_SET_DISPLAY_ON, 0x00);

	// Set to high speed mode. TODO: Make this work
	DSI_LPCmdTypeDef LPCmd = {0};
	LPCmd.LPMaxReadPacket = DSI_LP_MRDP_ENABLE;
	LPCmd.AcknowledgeRequest = DSI_ACKNOWLEDGE_DISABLE;

	LPCmd.LPGenShortWriteNoP    = DSI_LP_GSW0P_DISABLE;
	LPCmd.LPGenShortWriteOneP   = DSI_LP_GSW1P_DISABLE;
	LPCmd.LPGenShortWriteTwoP   = DSI_LP_GSW2P_DISABLE;
	LPCmd.LPGenShortReadNoP     = DSI_LP_GSR0P_DISABLE;
	LPCmd.LPGenShortReadOneP    = DSI_LP_GSR1P_DISABLE;
	LPCmd.LPGenShortReadTwoP    = DSI_LP_GSR2P_DISABLE;
	LPCmd.LPGenLongWrite        = DSI_LP_GLW_DISABLE;
	LPCmd.LPDcsShortWriteNoP    = DSI_LP_DSW0P_DISABLE;
	LPCmd.LPDcsShortWriteOneP   = DSI_LP_DSW1P_DISABLE;
	LPCmd.LPDcsShortReadNoP     = DSI_LP_DSR0P_DISABLE;
	LPCmd.LPDcsLongWrite        = DSI_LP_DLW_DISABLE;

	//    LPCmd.LPGenShortWriteNoP = DSI_LP_GSW0P_ENABLE;
	//    LPCmd.LPGenShortWriteOneP = DSI_LP_GSW1P_ENABLE;
	//    LPCmd.LPGenShortWriteTwoP = DSI_LP_GSW2P_ENABLE;
	//    LPCmd.LPGenShortReadNoP = DSI_LP_GSR0P_ENABLE;
	//    LPCmd.LPGenShortReadOneP = DSI_LP_GSR1P_ENABLE;
	//    LPCmd.LPGenShortReadTwoP = DSI_LP_GSR2P_ENABLE;
	//    LPCmd.LPGenLongWrite = DSI_LP_GLW_ENABLE;
	//    LPCmd.LPDcsShortWriteNoP = DSI_LP_DSW0P_ENABLE;
	//    LPCmd.LPDcsShortWriteOneP = DSI_LP_DSW1P_ENABLE;
	//    LPCmd.LPDcsShortReadNoP = DSI_LP_DSR0P_ENABLE;
	//    LPCmd.LPDcsLongWrite = DSI_LP_DLW_ENABLE;

	if (HAL_DSI_ConfigCommand(&hdsi, &LPCmd) != HAL_OK)
	{
		Error_Handler();
	}

    __HAL_RCC_DSI_CLK_DISABLE();
    RCC_PeriphCLKInitTypeDef PeriphClkInit = {0};
    PeriphClkInit.PeriphClockSelection = RCC_PERIPHCLK_DSI;
    PeriphClkInit.DsiClockSelection = RCC_DSICLKSOURCE_DSIPHY;
    if (HAL_RCCEx_PeriphCLKConfig(&PeriphClkInit) != HAL_OK)
    {
      Error_Handler();
    }

    __HAL_RCC_DSI_CLK_ENABLE();

	hdsi.Instance->CLCR |= DSI_CLCR_DPCC;

	__HAL_LTDC_ENABLE(&hltdc);
  /* USER CODE END LTDC_Init 2 */

}

static void MX_RTC_Init(void)
{

  RTC_PrivilegeStateTypeDef privilegeState = {0};

  /** Initialize RTC Only
  */
  hrtc.Instance = RTC;
  hrtc.Init.HourFormat = RTC_HOURFORMAT_24;
  hrtc.Init.AsynchPrediv = 127;
  hrtc.Init.SynchPrediv = 255;
  hrtc.Init.OutPut = RTC_OUTPUT_DISABLE;
  hrtc.Init.OutPutRemap = RTC_OUTPUT_REMAP_NONE;
  hrtc.Init.OutPutPolarity = RTC_OUTPUT_POLARITY_HIGH;
  hrtc.Init.OutPutType = RTC_OUTPUT_TYPE_OPENDRAIN;
  hrtc.Init.OutPutPullUp = RTC_OUTPUT_PULLUP_NONE;
  hrtc.Init.BinMode = RTC_BINARY_NONE;
  if (HAL_RTC_Init(&hrtc) != HAL_OK)
  {
    Error_Handler();
  }
  privilegeState.rtcPrivilegeFull = RTC_PRIVILEGE_FULL_NO;
  privilegeState.backupRegisterPrivZone = RTC_PRIVILEGE_BKUP_ZONE_NONE;
  privilegeState.backupRegisterStartZone2 = RTC_BKP_DR0;
  privilegeState.backupRegisterStartZone3 = RTC_BKP_DR0;
  if (HAL_RTCEx_PrivilegeModeSet(&hrtc, &privilegeState) != HAL_OK)
  {
    Error_Handler();
  }

}

static void MX_UART4_Init(void)
{

  huart4.Instance = UART4;
  huart4.Init.BaudRate = 115200;
  huart4.Init.WordLength = UART_WORDLENGTH_8B;
  huart4.Init.StopBits = UART_STOPBITS_1;
  huart4.Init.Parity = UART_PARITY_NONE;
  huart4.Init.Mode = UART_MODE_TX_RX;
  huart4.Init.HwFlowCtl = UART_HWCONTROL_NONE;
  huart4.Init.OverSampling = UART_OVERSAMPLING_16;
  huart4.Init.OneBitSampling = UART_ONE_BIT_SAMPLE_DISABLE;
  huart4.Init.ClockPrescaler = UART_PRESCALER_DIV1;
  huart4.AdvancedInit.AdvFeatureInit = UART_ADVFEATURE_NO_INIT;
  if (HAL_UART_Init(&huart4) != HAL_OK)
  {
    Error_Handler();
  }
  if (HAL_UARTEx_SetTxFifoThreshold(&huart4, UART_TXFIFO_THRESHOLD_1_8) != HAL_OK)
  {
    Error_Handler();
  }
  if (HAL_UARTEx_SetRxFifoThreshold(&huart4, UART_RXFIFO_THRESHOLD_1_8) != HAL_OK)
  {
    Error_Handler();
  }
  if (HAL_UARTEx_DisableFifoMode(&huart4) != HAL_OK)
  {
    Error_Handler();
  }

}

static void MX_GPIO_Init(void)
{
  GPIO_InitTypeDef GPIO_InitStruct = {0};

  /* GPIO Ports Clock Enable */
  __HAL_RCC_GPIOB_CLK_ENABLE();
  __HAL_RCC_GPIOH_CLK_ENABLE();
  __HAL_RCC_GPIOG_CLK_ENABLE();
  __HAL_RCC_GPIOD_CLK_ENABLE();
  __HAL_RCC_GPIOC_CLK_ENABLE();
  __HAL_RCC_GPIOE_CLK_ENABLE();
  __HAL_RCC_GPIOA_CLK_ENABLE();
  __HAL_RCC_GPIOF_CLK_ENABLE();
  __HAL_RCC_GPIOI_CLK_ENABLE();

  /*Configure GPIO pin Output Level */
  HAL_GPIO_WritePin(GPIOH, DISPLAY_RST_Pin|WL_BT_PWR_EN_Pin|FLASH_RST_Pin, GPIO_PIN_RESET);

  /*Configure GPIO pin Output Level */
  HAL_GPIO_WritePin(GPIOG, GNSS_WAKEUP_Pin|GNSS_RST_Pin|GPIO3_Pin, GPIO_PIN_RESET);

  /*Configure GPIO pin Output Level */
  HAL_GPIO_WritePin(GPIOE, TP_RST_Pin|AVDDEN_Pin|SD_EN_Pin, GPIO_PIN_RESET);

  /*Configure GPIO pin Output Level */
  HAL_GPIO_WritePin(GPIOI, BT_DEV_WAKE_Pin|BT_EN_Pin|WL_EN_Pin, GPIO_PIN_RESET);

  /*Configure GPIO pin Output Level */
  HAL_GPIO_WritePin(GPIO2_GPIO_Port, GPIO2_Pin, GPIO_PIN_RESET);

  /*Configure GPIO pin Output Level */
  HAL_GPIO_WritePin(GPIO1_GPIO_Port, GPIO1_Pin, GPIO_PIN_RESET);

  /*Configure GPIO pin Output Level */
  HAL_GPIO_WritePin(GPIOD, TOUCH_RST_Pin|LRA_EN_Pin|PWR_ENCHG_Pin, GPIO_PIN_RESET);

  /*Configure GPIO pins : PB9 PB6 */
  GPIO_InitStruct.Pin = GPIO_PIN_9|GPIO_PIN_6;
  GPIO_InitStruct.Mode = GPIO_MODE_AF_OD;
  GPIO_InitStruct.Pull = GPIO_NOPULL;
  GPIO_InitStruct.Speed = GPIO_SPEED_FREQ_LOW;
  GPIO_InitStruct.Alternate = GPIO_AF4_I2C1;
  HAL_GPIO_Init(GPIOB, &GPIO_InitStruct);

  /*Configure GPIO pins : DISPLAY_RST_Pin WL_BT_PWR_EN_Pin FLASH_RST_Pin */
  GPIO_InitStruct.Pin = DISPLAY_RST_Pin|WL_BT_PWR_EN_Pin|FLASH_RST_Pin;
  GPIO_InitStruct.Mode = GPIO_MODE_OUTPUT_PP;
  GPIO_InitStruct.Pull = GPIO_NOPULL;
  GPIO_InitStruct.Speed = GPIO_SPEED_FREQ_LOW;
  HAL_GPIO_Init(GPIOH, &GPIO_InitStruct);

  /*Configure GPIO pins : PB4 PB3 PB14 */
  GPIO_InitStruct.Pin = GPIO_PIN_4|GPIO_PIN_3|GPIO_PIN_14;
  GPIO_InitStruct.Mode = GPIO_MODE_AF_PP;
  GPIO_InitStruct.Pull = GPIO_NOPULL;
  GPIO_InitStruct.Speed = GPIO_SPEED_FREQ_HIGH;
  GPIO_InitStruct.Alternate = GPIO_AF12_SDMMC2;
  HAL_GPIO_Init(GPIOB, &GPIO_InitStruct);

  /*Configure GPIO pins : GNSS_WAKEUP_Pin GNSS_RST_Pin GPIO3_Pin */
  GPIO_InitStruct.Pin = GNSS_WAKEUP_Pin|GNSS_RST_Pin|GPIO3_Pin;
  GPIO_InitStruct.Mode = GPIO_MODE_OUTPUT_PP;
  GPIO_InitStruct.Pull = GPIO_NOPULL;
  GPIO_InitStruct.Speed = GPIO_SPEED_FREQ_LOW;
  HAL_GPIO_Init(GPIOG, &GPIO_InitStruct);

  /*Configure GPIO pins : GNSS_PPS_Pin ALS_INT_Pin */
  GPIO_InitStruct.Pin = GNSS_PPS_Pin|ALS_INT_Pin;
  GPIO_InitStruct.Mode = GPIO_MODE_IT_RISING;
  GPIO_InitStruct.Pull = GPIO_NOPULL;
  HAL_GPIO_Init(GPIOG, &GPIO_InitStruct);

  /*Configure GPIO pins : PG10 PG9 */
  GPIO_InitStruct.Pin = GPIO_PIN_10|GPIO_PIN_9;
  GPIO_InitStruct.Mode = GPIO_MODE_AF_PP;
  GPIO_InitStruct.Pull = GPIO_NOPULL;
  GPIO_InitStruct.Speed = GPIO_SPEED_FREQ_LOW;
  GPIO_InitStruct.Alternate = GPIO_AF7_USART1;
  HAL_GPIO_Init(GPIOG, &GPIO_InitStruct);

  /*Configure GPIO pins : PD7 PD6 */
  GPIO_InitStruct.Pin = GPIO_PIN_7|GPIO_PIN_6;
  GPIO_InitStruct.Mode = GPIO_MODE_AF_PP;
  GPIO_InitStruct.Pull = GPIO_NOPULL;
  GPIO_InitStruct.Speed = GPIO_SPEED_FREQ_HIGH;
  GPIO_InitStruct.Alternate = GPIO_AF11_SDMMC2;
  HAL_GPIO_Init(GPIOD, &GPIO_InitStruct);

  /*Configure GPIO pins : PD3 PD5 PD4 */
  GPIO_InitStruct.Pin = GPIO_PIN_3|GPIO_PIN_5|GPIO_PIN_4;
  GPIO_InitStruct.Mode = GPIO_MODE_AF_PP;
  GPIO_InitStruct.Pull = GPIO_NOPULL;
  GPIO_InitStruct.Speed = GPIO_SPEED_FREQ_LOW;
  GPIO_InitStruct.Alternate = GPIO_AF7_USART2;
  HAL_GPIO_Init(GPIOD, &GPIO_InitStruct);

  /*Configure GPIO pins : PC12 PC10 PC11 PC8
                           PC9 */
  GPIO_InitStruct.Pin = GPIO_PIN_12|GPIO_PIN_10|GPIO_PIN_11|GPIO_PIN_8
                          |GPIO_PIN_9;
  GPIO_InitStruct.Mode = GPIO_MODE_AF_PP;
  GPIO_InitStruct.Pull = GPIO_NOPULL;
  GPIO_InitStruct.Speed = GPIO_SPEED_FREQ_HIGH;
  GPIO_InitStruct.Alternate = GPIO_AF12_SDMMC1;
  HAL_GPIO_Init(GPIOC, &GPIO_InitStruct);

  /*Configure GPIO pins : TP_INT_Pin SWIRE_IN_Pin */
  GPIO_InitStruct.Pin = TP_INT_Pin|SWIRE_IN_Pin;
  GPIO_InitStruct.Mode = GPIO_MODE_INPUT;
  GPIO_InitStruct.Pull = GPIO_NOPULL;
  HAL_GPIO_Init(GPIOE, &GPIO_InitStruct);

  /*Configure GPIO pins : TP_RST_Pin AVDDEN_Pin SD_EN_Pin */
  GPIO_InitStruct.Pin = TP_RST_Pin|AVDDEN_Pin|SD_EN_Pin;
  GPIO_InitStruct.Mode = GPIO_MODE_OUTPUT_PP;
  GPIO_InitStruct.Pull = GPIO_NOPULL;
  GPIO_InitStruct.Speed = GPIO_SPEED_FREQ_LOW;
  HAL_GPIO_Init(GPIOE, &GPIO_InitStruct);

  /*Configure GPIO pin : PB8 */
  GPIO_InitStruct.Pin = GPIO_PIN_8;
  GPIO_InitStruct.Mode = GPIO_MODE_AF_PP;
  GPIO_InitStruct.Pull = GPIO_NOPULL;
  GPIO_InitStruct.Speed = GPIO_SPEED_FREQ_HIGH;
  GPIO_InitStruct.Alternate = GPIO_AF8_SDMMC1;
  HAL_GPIO_Init(GPIOB, &GPIO_InitStruct);

  /*Configure GPIO pin : PB5 */
  GPIO_InitStruct.Pin = GPIO_PIN_5;
  GPIO_InitStruct.Mode = GPIO_MODE_AF_PP;
  GPIO_InitStruct.Pull = GPIO_NOPULL;
  GPIO_InitStruct.Speed = GPIO_SPEED_FREQ_VERY_HIGH;
  GPIO_InitStruct.Alternate = GPIO_AF3_OCTOSPI1;
  HAL_GPIO_Init(GPIOB, &GPIO_InitStruct);

  /*Configure GPIO pin : PD2 */
  GPIO_InitStruct.Pin = GPIO_PIN_2;
  GPIO_InitStruct.Mode = GPIO_MODE_AF_PP;
  GPIO_InitStruct.Pull = GPIO_NOPULL;
  GPIO_InitStruct.Speed = GPIO_SPEED_FREQ_HIGH;
  GPIO_InitStruct.Alternate = GPIO_AF12_SDMMC1;
  HAL_GPIO_Init(GPIOD, &GPIO_InitStruct);

  /*Configure GPIO pin : SWIRE_OUT_Pin */
  GPIO_InitStruct.Pin = SWIRE_OUT_Pin;
  GPIO_InitStruct.Mode = GPIO_MODE_INPUT;
  GPIO_InitStruct.Pull = GPIO_PULLDOWN;
  HAL_GPIO_Init(SWIRE_OUT_GPIO_Port, &GPIO_InitStruct);

  /*Configure GPIO pins : IMU_INT1_Pin MAG_INT_Pin */
  GPIO_InitStruct.Pin = IMU_INT1_Pin|MAG_INT_Pin;
  GPIO_InitStruct.Mode = GPIO_MODE_IT_RISING;
  GPIO_InitStruct.Pull = GPIO_NOPULL;
  HAL_GPIO_Init(GPIOE, &GPIO_InitStruct);

  /*Configure GPIO pin : PA15 */
  GPIO_InitStruct.Pin = GPIO_PIN_15;
  GPIO_InitStruct.Mode = GPIO_MODE_AF_PP;
  GPIO_InitStruct.Pull = GPIO_NOPULL;
  GPIO_InitStruct.Speed = GPIO_SPEED_FREQ_LOW;
  GPIO_InitStruct.Alternate = GPIO_AF3_USART2;
  HAL_GPIO_Init(GPIOA, &GPIO_InitStruct);

  /*Configure GPIO pins : PA12 PA11 */
  GPIO_InitStruct.Pin = GPIO_PIN_12|GPIO_PIN_11;
  GPIO_InitStruct.Mode = GPIO_MODE_AF_PP;
  GPIO_InitStruct.Pull = GPIO_NOPULL;
  GPIO_InitStruct.Speed = GPIO_SPEED_FREQ_LOW;
  HAL_GPIO_Init(GPIOA, &GPIO_InitStruct);

  /*Configure GPIO pin : PA8 */
  GPIO_InitStruct.Pin = GPIO_PIN_8;
  GPIO_InitStruct.Mode = GPIO_MODE_AF_PP;
  GPIO_InitStruct.Pull = GPIO_NOPULL;
  GPIO_InitStruct.Speed = GPIO_SPEED_FREQ_HIGH;
  GPIO_InitStruct.Alternate = GPIO_AF8_SDMMC2;
  HAL_GPIO_Init(GPIOA, &GPIO_InitStruct);

  /*Configure GPIO pins : IMU_INT2_Pin FLASH_RSTO_Pin FLASH_INT_Pin */
  GPIO_InitStruct.Pin = IMU_INT2_Pin|FLASH_RSTO_Pin|FLASH_INT_Pin;
  GPIO_InitStruct.Mode = GPIO_MODE_IT_RISING;
  GPIO_InitStruct.Pull = GPIO_NOPULL;
  HAL_GPIO_Init(GPIOC, &GPIO_InitStruct);

  /*Configure GPIO pins : PF0 PF1 */
  GPIO_InitStruct.Pin = GPIO_PIN_0|GPIO_PIN_1;
  GPIO_InitStruct.Mode = GPIO_MODE_AF_OD;
  GPIO_InitStruct.Pull = GPIO_NOPULL;
  GPIO_InitStruct.Speed = GPIO_SPEED_FREQ_LOW;
  GPIO_InitStruct.Alternate = GPIO_AF2_I2C6;
  HAL_GPIO_Init(GPIOF, &GPIO_InitStruct);

  /*Configure GPIO pins : BT_DEV_WAKE_Pin BT_EN_Pin WL_EN_Pin */
  GPIO_InitStruct.Pin = BT_DEV_WAKE_Pin|BT_EN_Pin|WL_EN_Pin;
  GPIO_InitStruct.Mode = GPIO_MODE_OUTPUT_PP;
  GPIO_InitStruct.Pull = GPIO_NOPULL;
  GPIO_InitStruct.Speed = GPIO_SPEED_FREQ_LOW;
  HAL_GPIO_Init(GPIOI, &GPIO_InitStruct);

  /*Configure GPIO pin : BT_HOST_WAKE_Pin */
  GPIO_InitStruct.Pin = BT_HOST_WAKE_Pin;
  GPIO_InitStruct.Mode = GPIO_MODE_IT_RISING;
  GPIO_InitStruct.Pull = GPIO_NOPULL;
  HAL_GPIO_Init(BT_HOST_WAKE_GPIO_Port, &GPIO_InitStruct);

  /*Configure GPIO pin : GPIO2_Pin */
  GPIO_InitStruct.Pin = GPIO2_Pin;
  GPIO_InitStruct.Mode = GPIO_MODE_OUTPUT_PP;
  GPIO_InitStruct.Pull = GPIO_NOPULL;
  GPIO_InitStruct.Speed = GPIO_SPEED_FREQ_LOW;
  HAL_GPIO_Init(GPIO2_GPIO_Port, &GPIO_InitStruct);

  /*Configure GPIO pin : GPIO1_Pin */
  GPIO_InitStruct.Pin = GPIO1_Pin;
  GPIO_InitStruct.Mode = GPIO_MODE_OUTPUT_PP;
  GPIO_InitStruct.Pull = GPIO_NOPULL;
  GPIO_InitStruct.Speed = GPIO_SPEED_FREQ_LOW;
  HAL_GPIO_Init(GPIO1_GPIO_Port, &GPIO_InitStruct);

  /*Configure GPIO pin : WL_HOST_WAKE_Pin */
  GPIO_InitStruct.Pin = WL_HOST_WAKE_Pin;
  GPIO_InitStruct.Mode = GPIO_MODE_IT_RISING;
  GPIO_InitStruct.Pull = GPIO_NOPULL;
  HAL_GPIO_Init(WL_HOST_WAKE_GPIO_Port, &GPIO_InitStruct);

  /*Configure GPIO pins : PB2 PB10 */
  GPIO_InitStruct.Pin = GPIO_PIN_2|GPIO_PIN_10;
  GPIO_InitStruct.Mode = GPIO_MODE_AF_PP;
  GPIO_InitStruct.Pull = GPIO_NOPULL;
  GPIO_InitStruct.Speed = GPIO_SPEED_FREQ_VERY_HIGH;
  GPIO_InitStruct.Alternate = GPIO_AF10_OCTOSPI1;
  HAL_GPIO_Init(GPIOB, &GPIO_InitStruct);

  /*Configure GPIO pin : TOUCH_RST_Pin */
  GPIO_InitStruct.Pin = TOUCH_RST_Pin;
  GPIO_InitStruct.Mode = GPIO_MODE_OUTPUT_OD;
  GPIO_InitStruct.Pull = GPIO_NOPULL;
  GPIO_InitStruct.Speed = GPIO_SPEED_FREQ_LOW;
  HAL_GPIO_Init(TOUCH_RST_GPIO_Port, &GPIO_InitStruct);

  /*Configure GPIO pins : PH12 PH11 PH10 PH9 */
  GPIO_InitStruct.Pin = GPIO_PIN_12|GPIO_PIN_11|GPIO_PIN_10|GPIO_PIN_9;
  GPIO_InitStruct.Mode = GPIO_MODE_AF_PP;
  GPIO_InitStruct.Pull = GPIO_NOPULL;
  GPIO_InitStruct.Speed = GPIO_SPEED_FREQ_VERY_HIGH;
  GPIO_InitStruct.Alternate = GPIO_AF5_OCTOSPI2;
  HAL_GPIO_Init(GPIOH, &GPIO_InitStruct);

  /*Configure GPIO pin : PB0 */
  GPIO_InitStruct.Pin = GPIO_PIN_0;
  GPIO_InitStruct.Mode = GPIO_MODE_AF_PP;
  GPIO_InitStruct.Pull = GPIO_NOPULL;
  GPIO_InitStruct.Speed = GPIO_SPEED_FREQ_LOW;
  GPIO_InitStruct.Alternate = GPIO_AF5_SPI1;
  HAL_GPIO_Init(GPIOB, &GPIO_InitStruct);

  /*Configure GPIO pins : PE10 PE9 */
  GPIO_InitStruct.Pin = GPIO_PIN_10|GPIO_PIN_9;
  GPIO_InitStruct.Mode = GPIO_MODE_AF_PP;
  GPIO_InitStruct.Pull = GPIO_NOPULL;
  GPIO_InitStruct.Speed = GPIO_SPEED_FREQ_LOW;
  GPIO_InitStruct.Alternate = GPIO_AF3_ADF1;
  HAL_GPIO_Init(GPIOE, &GPIO_InitStruct);

  /*Configure GPIO pins : PE12 PE14 PE13 PE11
                           PE15 */
  GPIO_InitStruct.Pin = GPIO_PIN_12|GPIO_PIN_14|GPIO_PIN_13|GPIO_PIN_11
                          |GPIO_PIN_15;
  GPIO_InitStruct.Mode = GPIO_MODE_AF_PP;
  GPIO_InitStruct.Pull = GPIO_NOPULL;
  GPIO_InitStruct.Speed = GPIO_SPEED_FREQ_VERY_HIGH;
  GPIO_InitStruct.Alternate = GPIO_AF10_OCTOSPI1;
  HAL_GPIO_Init(GPIOE, &GPIO_InitStruct);

  /*Configure GPIO pins : PC1 PC0 */
  GPIO_InitStruct.Pin = GPIO_PIN_1|GPIO_PIN_0;
  GPIO_InitStruct.Mode = GPIO_MODE_AF_OD;
  GPIO_InitStruct.Pull = GPIO_NOPULL;
  GPIO_InitStruct.Speed = GPIO_SPEED_FREQ_LOW;
  GPIO_InitStruct.Alternate = GPIO_AF4_I2C3;
  HAL_GPIO_Init(GPIOC, &GPIO_InitStruct);

  /*Configure GPIO pins : PA5 PA7 PA6 */
  GPIO_InitStruct.Pin = GPIO_PIN_5|GPIO_PIN_7|GPIO_PIN_6;
  GPIO_InitStruct.Mode = GPIO_MODE_AF_PP;
  GPIO_InitStruct.Pull = GPIO_NOPULL;
  GPIO_InitStruct.Speed = GPIO_SPEED_FREQ_LOW;
  GPIO_InitStruct.Alternate = GPIO_AF5_SPI1;
  HAL_GPIO_Init(GPIOA, &GPIO_InitStruct);

  /*Configure GPIO pin : SD_CD_Pin */
  GPIO_InitStruct.Pin = SD_CD_Pin;
  GPIO_InitStruct.Mode = GPIO_MODE_INPUT;
  GPIO_InitStruct.Pull = GPIO_NOPULL;
  HAL_GPIO_Init(SD_CD_GPIO_Port, &GPIO_InitStruct);

  /*Configure GPIO pins : PD13 PD12 */
  GPIO_InitStruct.Pin = GPIO_PIN_13|GPIO_PIN_12;
  GPIO_InitStruct.Mode = GPIO_MODE_AF_OD;
  GPIO_InitStruct.Pull = GPIO_NOPULL;
  GPIO_InitStruct.Speed = GPIO_SPEED_FREQ_LOW;
  GPIO_InitStruct.Alternate = GPIO_AF4_I2C4;
  HAL_GPIO_Init(GPIOD, &GPIO_InitStruct);

  /*Configure GPIO pins : PWR_INT_Pin TOUCH_INT_Pin HR_INT_Pin */
  GPIO_InitStruct.Pin = PWR_INT_Pin|TOUCH_INT_Pin|HR_INT_Pin;
  GPIO_InitStruct.Mode = GPIO_MODE_IT_RISING;
  GPIO_InitStruct.Pull = GPIO_NOPULL;
  HAL_GPIO_Init(GPIOD, &GPIO_InitStruct);

  /*Configure GPIO pin : PA2 */
  GPIO_InitStruct.Pin = GPIO_PIN_2;
  GPIO_InitStruct.Mode = GPIO_MODE_ANALOG;
  GPIO_InitStruct.Pull = GPIO_NOPULL;
  HAL_GPIO_Init(GPIOA, &GPIO_InitStruct);

  /*Configure GPIO pins : PB11 PB13 */
  GPIO_InitStruct.Pin = GPIO_PIN_11|GPIO_PIN_13;
  GPIO_InitStruct.Mode = GPIO_MODE_AF_OD;
  GPIO_InitStruct.Pull = GPIO_NOPULL;
  GPIO_InitStruct.Speed = GPIO_SPEED_FREQ_LOW;
  GPIO_InitStruct.Alternate = GPIO_AF4_I2C2;
  HAL_GPIO_Init(GPIOB, &GPIO_InitStruct);

  /*Configure GPIO pins : LRA_EN_Pin PWR_ENCHG_Pin */
  GPIO_InitStruct.Pin = LRA_EN_Pin|PWR_ENCHG_Pin;
  GPIO_InitStruct.Mode = GPIO_MODE_OUTPUT_PP;
  GPIO_InitStruct.Pull = GPIO_NOPULL;
  GPIO_InitStruct.Speed = GPIO_SPEED_FREQ_LOW;
  HAL_GPIO_Init(GPIOD, &GPIO_InitStruct);

  /*Configure GPIO pin : BTN_Pin */
  GPIO_InitStruct.Pin = BTN_Pin;
  GPIO_InitStruct.Mode = GPIO_MODE_IT_RISING;
  GPIO_InitStruct.Pull = GPIO_NOPULL;
  HAL_GPIO_Init(BTN_GPIO_Port, &GPIO_InitStruct);

}

void HAL_TIM_PeriodElapsedCallback(TIM_HandleTypeDef *htim)
{
  if (htim->Instance == TIM6) {
    HAL_IncTick();
  }
}

void Error_Handler(void)
{
	__disable_irq();
	while (1)
	{
	}
}
